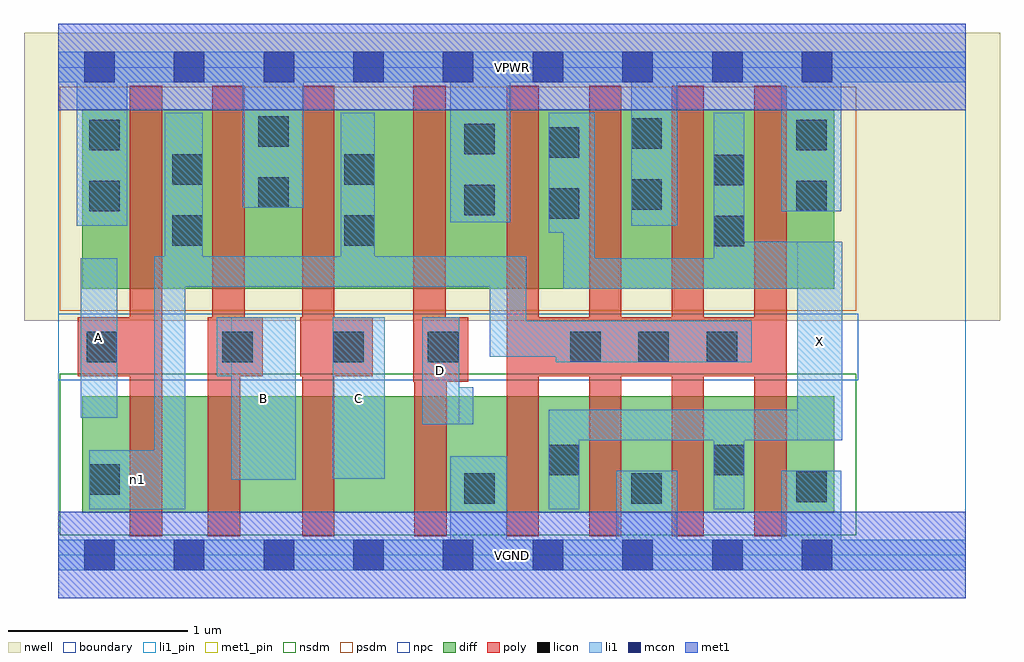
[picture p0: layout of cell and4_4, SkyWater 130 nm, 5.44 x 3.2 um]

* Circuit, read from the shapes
.subckt and4_4 A B C D VGND VPWR X n1
XM1 n2 A n1 VSUBS sky130_fd_pr__nfet_01v8 w=0.65 l=0.18
XM2 n3 B n2 VSUBS sky130_fd_pr__nfet_01v8 w=0.65 l=0.18
XM3 n4 C n3 VSUBS sky130_fd_pr__nfet_01v8 w=0.65 l=0.18
XM4 VGND D n4 VSUBS sky130_fd_pr__nfet_01v8 w=0.65 l=0.18
XM5 X n1 VGND VSUBS sky130_fd_pr__nfet_01v8 w=0.65 l=0.18 m=4
XM6 n1 A VPWR n5 sky130_fd_pr__pfet_01v8 w=1 l=0.18
XM7 VPWR B n1 n5 sky130_fd_pr__pfet_01v8 w=1 l=0.18
XM8 n1 C VPWR n5 sky130_fd_pr__pfet_01v8 w=1 l=0.18
XM9 VPWR D n1 n5 sky130_fd_pr__pfet_01v8 w=1 l=0.18
XM10 X n1 VPWR n5 sky130_fd_pr__pfet_01v8 w=1 l=0.18 m=4
.ends

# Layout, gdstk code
import gdstk
lib = gdstk.Library(unit=1e-6, precision=1e-09)
def R(c, l, rs):  # rectangles x0, y0, x1, y1
    for r in rs: c.add(gdstk.rectangle(r[:2], r[2:], *l))
def A(c, l, x, y, w, h, nx, ny, dx, dy):  # array of equal rectangles
    R(c, l, [(x+i*dx, y+j*dy, x+i*dx+w, y+j*dy+h) for i in range(nx) for j in range(ny)])
nwell = (64, 20)
diff = (65, 20)
poly = (66, 20)
licon = (66, 44)
li1_pin = (67, 16)
li1 = (67, 20)
mcon = (67, 44)
met1_pin = (68, 16)
met1 = (68, 20)
nsdm = (93, 44)
psdm = (94, 20)
npc = (95, 20)
boundary = (235, 4)

and4_4 = lib.new_cell('and4_4')
R(and4_4, nwell, [(-0.19,1.305,5.25,2.91), (0,1.305,5.06,2.91)])
R(and4_4, diff, [(0.135,0.235,4.325,0.885), (0.135,1.485,4.325,2.485)])
A(and4_4, poly, 2.5, 0.105, 0.18, 2.51, 4, 1, 0.46, 0)
R(and4_4, poly, [(0.4,0.105,0.58,2.615), (0.835,0.105,1.015,1.325), (1.36,0.105,1.54,2.615), (1.985,0.105,2.165,1.325), (1.98,0.965,2.16,2.615), (1.98,0.965,2.285,1.325), (0.11,0.995,0.58,1.325), (0.835,0.995,1.14,1.325), (0.86,0.995,1.04,2.615), (1.35,0.995,1.755,1.325), (2.5,0.995,4.06,1.325)])
A(and4_4, licon, 2.855, 1.075, 0.17, 0.17, 3, 1, 0.38, 0)
R(and4_4, licon, [(2.265,0.285,2.435,0.455), (3.195,0.285,3.365,0.455), (4.115,0.295,4.285,0.465), (0.175,0.335,0.345,0.505), (2.735,0.445,2.905,0.615), (3.655,0.445,3.825,0.615), (0.16,1.075,0.33,1.245), (0.915,1.075,1.085,1.245), (1.535,1.075,1.705,1.245), (2.06,1.075,2.23,1.245), (3.655,1.72,3.825,1.89), (0.635,1.725,0.805,1.895), (1.595,1.725,1.765,1.895), (2.735,1.875,2.905,2.045), (2.265,1.895,2.435,2.065), (0.175,1.915,0.345,2.085), (4.115,1.915,4.285,2.085), (3.195,1.925,3.365,2.095), (1.115,1.935,1.285,2.105), (3.655,2.06,3.825,2.23), (0.635,2.065,0.805,2.235), (1.595,2.065,1.765,2.235), (2.735,2.215,2.905,2.385), (2.265,2.235,2.435,2.405), (0.175,2.255,0.345,2.425), (4.115,2.255,4.285,2.425), (3.195,2.265,3.365,2.435), (1.115,2.275,1.285,2.445)])
R(and4_4, li1_pin, [(0.965,0.42,1.325,1.325), (1.53,0.425,1.82,1.325), (4.12,0.64,4.37,1.745), (2.03,0.73,2.235,1.325), (0.125,0.765,0.33,1.655)])
R(and4_4, li1, [(0,-0.085,5.06,0.085), (2.185,-0.085,2.5,0.55), (3.11,-0.085,3.45,0.47), (4.03,-0.085,4.365,0.47), (0.175,0.255,0.71,0.585), (0.535,0.255,0.71,1.665), (2.735,0.255,2.905,0.81), (3.655,0.255,3.825,0.81), (0.965,0.42,1.325,1.325), (1.53,0.425,1.82,1.325), (2.735,0.64,4.37,0.81), (4.12,0.64,4.37,1.745), (2.03,0.73,2.235,1.325), (2.03,0.73,2.315,0.935), (0.125,0.765,0.33,1.655), (0.885,0.995,1.325,1.325), (2.775,1.075,3.865,1.305), (2.405,1.105,3.865,1.305), (2.405,1.105,2.61,1.665), (2.815,1.485,4.37,1.655), (2.815,1.485,2.99,2.465), (3.655,1.485,3.825,2.465), (3.655,1.485,4.37,1.745), (0.535,1.495,2.61,1.665), (0.595,1.495,0.805,2.465), (1.575,1.495,1.765,2.465), (2.735,1.795,2.99,2.465), (0.105,1.835,0.385,2.805), (3.195,1.835,3.45,2.805), (2.185,1.855,2.52,2.805), (4.03,1.915,4.365,2.805), (1.03,1.935,1.37,2.805), (0,2.635,5.06,2.805)])
A(and4_4, mcon, 0.145, -0.085, 0.17, 0.17, 9, 2, 0.5, 2.72)
R(and4_4, met1_pin, [(0,-0.24,5.06,0.24), (0,2.48,5.06,2.96)])
R(and4_4, met1, [(0,-0.24,5.06,0.24), (0,2.48,5.06,2.96)])
R(and4_4, nsdm, [(0.01,0.11,4.45,1.01)])
R(and4_4, psdm, [(0.01,1.36,4.45,2.61)])
R(and4_4, npc, [(0,0.975,4.46,1.345)])
R(and4_4, boundary, [(0,0,5.06,2.72)])
and4_4.add(gdstk.Label('A', (0.227,1.21), layer=67, texttype=5))
and4_4.add(gdstk.Label('B', (1.145,0.872), layer=67, texttype=5))
and4_4.add(gdstk.Label('C', (1.675,0.875), layer=67, texttype=5))
and4_4.add(gdstk.Label('D', (2.132,1.027), layer=67, texttype=5))
and4_4.add(gdstk.Label('X', (4.245,1.192), layer=67, texttype=5))
and4_4.add(gdstk.Label('n1', (0.442,0.42), layer=67, texttype=5))
and4_4.add(gdstk.Label('VPWR', (2.53,2.72), layer=68, texttype=5))
and4_4.add(gdstk.Label('VGND', (2.53,0), layer=68, texttype=5))
and4_4.add(gdstk.Label('A', (0.227,1.21), layer=67, texttype=16))
and4_4.add(gdstk.Label('B', (1.145,0.872), layer=67, texttype=16))
and4_4.add(gdstk.Label('C', (1.675,0.875), layer=67, texttype=16))
and4_4.add(gdstk.Label('D', (2.132,1.027), layer=67, texttype=16))
and4_4.add(gdstk.Label('X', (4.245,1.192), layer=67, texttype=16))
and4_4.add(gdstk.Label('VPWR', (2.53,2.72), layer=68, texttype=16))
and4_4.add(gdstk.Label('VGND', (2.53,0), layer=68, texttype=16))

lib.write_gds('and4_4.gds')
